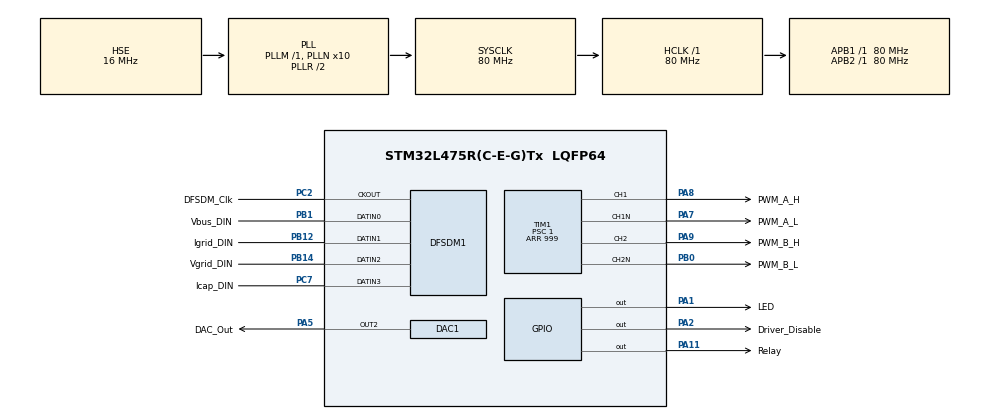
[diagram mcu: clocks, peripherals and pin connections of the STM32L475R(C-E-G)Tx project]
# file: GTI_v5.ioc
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DAC1.DAC_Channel-DAC_OUT2=DAC_CHANNEL_2
DFSDM1.Divider=8
DFSDM1.DmaMode_reg_FIL0=ENABLE
DFSDM1.DmaMode_reg_FIL1=ENABLE
DFSDM1.DmaMode_reg_FIL2=ENABLE
DFSDM1.DmaMode_reg_FIL3=ENABLE
DFSDM1.FilterOrder_CH0=DFSDM_CHANNEL_SINC3_ORDER
DFSDM1.FilterOrder_CH1=DFSDM_CHANNEL_SINC3_ORDER
DFSDM1.FilterOrder_CH2=DFSDM_CHANNEL_SINC3_ORDER
DFSDM1.FilterOrder_CH3=DFSDM_CHANNEL_SINC3_ORDER
DFSDM1.Filter_regChannel_FIL0=DFSDM_CHANNEL_0
DFSDM1.Filter_regChannel_FIL1=DFSDM_CHANNEL_1
DFSDM1.Filter_regChannel_FIL2=DFSDM_CHANNEL_2
DFSDM1.Filter_regChannel_FIL3=DFSDM_CHANNEL_3
DFSDM1.Fosr_FIL0=82
DFSDM1.Fosr_FIL1=82
DFSDM1.Fosr_FIL2=82
DFSDM1.Fosr_FIL3=82
DFSDM1.Iosr_FIL0=1
DFSDM1.Iosr_FIL1=1
DFSDM1.Iosr_FIL2=1
DFSDM1.Iosr_FIL3=1
DFSDM1.Oversampling_CH0=16
DFSDM1.Oversampling_CH1=16
DFSDM1.RightBitShift_CH0=0
DFSDM1.RightBitShift_CH1=0
DFSDM1.RightBitShift_CH2=0
DFSDM1.RightBitShift_CH3=0
DFSDM1.SincOrder_FIL0=DFSDM_FILTER_SINC3_ORDER
DFSDM1.SincOrder_FIL1=DFSDM_FILTER_SINC3_ORDER
DFSDM1.SincOrder_FIL2=DFSDM_FILTER_SINC3_ORDER
DFSDM1.SincOrder_FIL3=DFSDM_FILTER_SINC3_ORDER
Dma.DFSDM1_FLT0.0.Direction=DMA_PERIPH_TO_MEMORY
Dma.DFSDM1_FLT0.0.Instance=DMA1_Channel4
Dma.DFSDM1_FLT0.0.MemDataAlignment=DMA_MDATAALIGN_WORD
Dma.DFSDM1_FLT0.0.MemInc=DMA_MINC_ENABLE
Dma.DFSDM1_FLT0.0.Mode=DMA_CIRCULAR
Dma.DFSDM1_FLT0.0.PeriphDataAlignment=DMA_PDATAALIGN_WORD
Dma.DFSDM1_FLT0.0.PeriphInc=DMA_PINC_DISABLE
Dma.DFSDM1_FLT0.0.Priority=DMA_PRIORITY_LOW
Dma.DFSDM1_FLT1.1.Direction=DMA_PERIPH_TO_MEMORY
Dma.DFSDM1_FLT1.1.Instance=DMA1_Channel5
Dma.DFSDM1_FLT1.1.MemDataAlignment=DMA_MDATAALIGN_WORD
Dma.DFSDM1_FLT1.1.MemInc=DMA_MINC_ENABLE
Dma.DFSDM1_FLT1.1.Mode=DMA_CIRCULAR
Dma.DFSDM1_FLT1.1.PeriphDataAlignment=DMA_PDATAALIGN_WORD
Dma.DFSDM1_FLT1.1.PeriphInc=DMA_PINC_DISABLE
Dma.DFSDM1_FLT1.1.Priority=DMA_PRIORITY_LOW
Dma.DFSDM1_FLT2.2.Direction=DMA_PERIPH_TO_MEMORY
Dma.DFSDM1_FLT2.2.Instance=DMA1_Channel6
Dma.DFSDM1_FLT2.2.MemDataAlignment=DMA_MDATAALIGN_WORD
Dma.DFSDM1_FLT2.2.MemInc=DMA_MINC_ENABLE
Dma.DFSDM1_FLT2.2.Mode=DMA_CIRCULAR
Dma.DFSDM1_FLT2.2.PeriphDataAlignment=DMA_PDATAALIGN_WORD
Dma.DFSDM1_FLT2.2.PeriphInc=DMA_PINC_DISABLE
Dma.DFSDM1_FLT2.2.Priority=DMA_PRIORITY_LOW
Dma.DFSDM1_FLT3.3.Direction=DMA_PERIPH_TO_MEMORY
Dma.DFSDM1_FLT3.3.Instance=DMA1_Channel7
Dma.DFSDM1_FLT3.3.MemDataAlignment=DMA_MDATAALIGN_WORD
Dma.DFSDM1_FLT3.3.MemInc=DMA_MINC_ENABLE
Dma.DFSDM1_FLT3.3.Mode=DMA_CIRCULAR
Dma.DFSDM1_FLT3.3.PeriphDataAlignment=DMA_PDATAALIGN_WORD
Dma.DFSDM1_FLT3.3.PeriphInc=DMA_PINC_DISABLE
Dma.DFSDM1_FLT3.3.Priority=DMA_PRIORITY_LOW
Dma.Request0=DFSDM1_FLT0
Dma.Request1=DFSDM1_FLT1
Dma.Request2=DFSDM1_FLT2
Dma.Request3=DFSDM1_FLT3
Mcu.Family=STM32L4
Mcu.Name=STM32L475R(C-E-G)Tx
Mcu.Package=LQFP64
NVIC.DFSDM1_FLT0_IRQn=true\:0\:0\:true\:false\:true\:true\:true\:true
NVIC.DFSDM1_FLT1_IRQn=true\:0\:0\:true\:false\:true\:true\:true\:true
NVIC.PriorityGroup=NVIC_PRIORITYGROUP_4
NVIC.TIM2_IRQn=true\:15\:0\:true\:false\:true\:true\:true\:true
NVIC.TIM3_IRQn=true\:1\:0\:true\:false\:true\:true\:true\:true
NVIC.TIM4_IRQn=true\:10\:0\:true\:false\:true\:true\:true\:true
PA1.GPIO_Label=LED
PA1.GPIO_Speed=GPIO_SPEED_FREQ_MEDIUM
PA1.Signal=GPIO_Output
PA11.GPIO_Label=Relay
PA11.GPIO_Speed=GPIO_SPEED_FREQ_MEDIUM
PA11.Signal=GPIO_Output
PA2.GPIO_Label=Driver_Disable
PA2.GPIO_Speed=GPIO_SPEED_FREQ_MEDIUM
PA2.PinState=GPIO_PIN_SET
PA2.Signal=GPIO_Output
PA5.GPIO_Label=DAC_Out
PA5.Signal=COMP_DAC12_group
PA7.GPIO_Label=PWM_A_L
PA7.GPIO_Speed=GPIO_SPEED_FREQ_VERY_HIGH
PA7.Mode=PWM Generation1 CH1 CH1N
PA7.Signal=TIM1_CH1N
PA8.GPIO_Label=PWM_A_H
PA8.GPIO_Speed=GPIO_SPEED_FREQ_VERY_HIGH
PA8.Signal=S_TIM1_CH1
PA9.GPIO_Label=PWM_B_H
PA9.GPIO_Speed=GPIO_SPEED_FREQ_VERY_HIGH
PA9.Signal=S_TIM1_CH2
PB0.GPIO_Label=PWM_B_L
PB0.GPIO_Speed=GPIO_SPEED_FREQ_VERY_HIGH
PB0.Mode=PWM Generation2 CH2 CH2N
PB0.Signal=TIM1_CH2N
PB1.GPIO_Label=Vbus_DIN
PB1.GPIO_Speed=GPIO_SPEED_FREQ_VERY_HIGH
PB1.Signal=S_DATAIN0DFSDM1
PB12.GPIO_Label=Igrid_DIN
PB12.GPIO_Speed=GPIO_SPEED_FREQ_VERY_HIGH
PB12.Signal=S_DATAIN1DFSDM1
PB14.GPIO_Label=Vgrid_DIN
PB14.GPIO_Speed=GPIO_SPEED_FREQ_VERY_HIGH
PB14.Signal=S_DATAIN2DFSDM1
PC2.GPIO_Label=DFSDM_Clk
PC2.GPIO_Speed=GPIO_SPEED_FREQ_VERY_HIGH
PC2.Signal=S_CKOUTDFSDM1
PC7.GPIO_Label=Icap_DIN
PC7.GPIO_Speed=GPIO_SPEED_FREQ_VERY_HIGH
PC7.Signal=S_DATAIN3DFSDM1
PH0-OSC_IN\ (PH0).Mode=HSE-External-Oscillator
PH0-OSC_IN\ (PH0).Signal=RCC_OSC_IN
PH1-OSC_OUT\ (PH1).Mode=HSE-External-Oscillator
PH1-OSC_OUT\ (PH1).Signal=RCC_OSC_OUT
ProjectManager.HeapSize=0x200
ProjectManager.StackSize=0x400
ProjectManager.TargetToolchain=STM32CubeIDE
RCC.ADCFreq_Value=64000000
RCC.AHBFreq_Value=80000000
RCC.APB1Freq_Value=80000000
RCC.APB1TimFreq_Value=80000000
RCC.APB2Freq_Value=80000000
RCC.APB2TimFreq_Value=80000000
RCC.CortexFreq_Value=80000000
RCC.HCLKFreq_Value=80000000
RCC.HSE_VALUE=16000000
RCC.HSI_VALUE=16000000
RCC.LSE_VALUE=32768
RCC.MSI_VALUE=4000000
RCC.PLLN=10
RCC.PLLSourceVirtual=RCC_PLLSOURCE_HSE
RCC.SYSCLKFreq_VALUE=80000000
RCC.SYSCLKSource=RCC_SYSCLKSOURCE_PLLCLK
RCC.USBFreq_Value=64000000
RCC.VCOOutputFreq_Value=160000000
SH.COMP_DAC12_group.0=DAC1_OUT2,DAC_OUT2
SH.S_CKOUTDFSDM1.0=DFSDM1_CKOUT,PDM_SPI_input_from_ch1_and_internal_clock
SH.S_CKOUTDFSDM1.1=DFSDM1_CKOUT,CKOUT
SH.S_CKOUTDFSDM1.2=DFSDM1_CKOUT,PDM_SPI_input_from_ch0_and_internal_clock
SH.S_CKOUTDFSDM1.3=DFSDM1_CKOUT,PDM_SPI_input_from_ch2_and_internal_clock
SH.S_CKOUTDFSDM1.4=DFSDM1_CKOUT,PDM_SPI_input_from_ch3_and_internal_clock
SH.S_DATAIN0DFSDM1.0=DFSDM1_DATIN0,PDM_SPI_input_from_ch0_and_internal_clock
SH.S_DATAIN1DFSDM1.0=DFSDM1_DATIN1,PDM_SPI_input_from_ch1_and_internal_clock
SH.S_DATAIN2DFSDM1.0=DFSDM1_DATIN2,PDM_SPI_input_from_ch2_and_internal_clock
SH.S_DATAIN3DFSDM1.0=DFSDM1_DATIN3,PDM_SPI_input_from_ch3_and_internal_clock
SH.S_TIM1_CH1.0=TIM1_CH1,PWM Generation1 CH1 CH1N
SH.S_TIM1_CH2.0=TIM1_CH2,PWM Generation2 CH2 CH2N
TIM1.Channel-PWM\ Generation1\ CH1\ CH1N=TIM_CHANNEL_1
TIM1.Channel-PWM\ Generation2\ CH2\ CH2N=TIM_CHANNEL_2
TIM1.DeadTime=1
TIM1.Period=999
TIM1.Prescaler=1
TIM1.Pulse-PWM\ Generation2\ CH2\ CH2N=0
TIM2.Period=1249
TIM2.Prescaler=79
TIM3.Period=5999
TIM3.Prescaler=0
TIM4.AutoReloadPreload=TIM_AUTORELOAD_PRELOAD_ENABLE
TIM4.Period=999
TIM4.Prescaler=24
TIM4.TIM_MasterOutputTrigger=TIM_TRGO_UPDATE
TIM4.TIM_MasterSlaveMode=TIM_MASTERSLAVEMODE_ENABLE
TIM5.Period=63
TIM5.TIM_MasterOutputTrigger=TIM_TRGO_RESET
TIM5.TIM_MasterSlaveMode=TIM_MASTERSLAVEMODE_DISABLE
VP_TIM1_VS_ClockSourceINT.Mode=Internal
VP_TIM2_VS_ClockSourceINT.Mode=Internal
VP_TIM3_VS_ClockSourceINT.Mode=Internal
VP_TIM4_VS_ClockSourceINT.Mode=Internal
VP_TIM5_VS_ClockSourceITR.Mode=TriggerSource_ITR2
VP_TIM5_VS_ControllerModeClock.Mode=Clock Mode
board=custom

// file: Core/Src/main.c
/* USER CODE BEGIN Header */
/**
  ******************************************************************************
  * @file           : main.c
  * @brief          : Main program body
  ***************************************************************************************
 * MIT License
 * Copyright (c) [2023] [James Fotherby]
 * Copyright (c) [2024] [Joule Munic]
 *
 * Permission is hereby granted, free of charge, to any person obtaining a copy
 * of this software and associated documentation files (the "Software"), to deal
 * in the Software without restriction, including without limitation the rights
 * to use, copy, modify, merge, publish, distribute, sublicense, and/or sell
 * copies of the Software, and to permit persons to whom the Software is
 * furnished to do so, subject to the following conditions:
 *
 * The above copyright notice and this permission notice shall be included in all
 * copies or substantial portions of the Software.
 *
 * THE SOFTWARE IS PROVIDED "AS IS", WITHOUT WARRANTY OF ANY KIND, EXPRESS OR
 * IMPLIED, INCLUDING BUT NOT LIMITED TO THE WARRANTIES OF MERCHANTABILITY,
 * FITNESS FOR A PARTICULAR PURPOSE AND NONINFRINGEMENT. IN NO EVENT SHALL THE
 * AUTHORS OR COPYRIGHT HOLDERS BE LIABLE FOR ANY CLAIM, DAMAGES OR OTHER
 * LIABILITY, WHETHER IN AN ACTION OF CONTRACT, TORT OR OTHERWISE, ARISING FROM,
 * OUT OF OR IN CONNECTION WITH THE SOFTWARE OR THE USE OR OTHER DEALINGS IN THE
 * SOFTWARE.
 ***************************************************************************************/
/* USER CODE END Header */
#include "main.h"
#include "dac.h"
#include "dfsdm.h"
#include "dma.h"
#include "tim.h"
#include "gpio.h"

/* USER CODE BEGIN Includes */
#include "PID.h"
#include "math.h"
#include "PR.h"
/* USER CODE END Includes */

/* USER CODE BEGIN PV */
const float Sin_LookupF[65] =
{
  0.000000,0.098017,0.195090,0.290285,0.382683,0.471397,0.555570,0.634393,
  0.707107,0.773010,0.831470,0.881921,0.923880,0.956940,0.980785,0.995185,
  1.000000,0.995185,0.980785,0.956940,0.923880,0.881921,0.831470,0.773010,
  0.707107,0.634393,0.555570,0.471397,0.382683,0.290285,0.195090,0.098017,
  0.000000,-0.098017,-0.195090,-0.290285,-0.382683,-0.471397,-0.555570,-0.634393,
  -0.707107,-0.773010,-0.831470,-0.881921,-0.923880,-0.956940,-0.980785,-0.995185,
  -1.000000,-0.995185,-0.980785,-0.956940,-0.923880,-0.881921,-0.831470,-0.773010,
  -0.707107,-0.634393,-0.555570,-0.471397,-0.382683,-0.290285,-0.195090,-0.098017,
  0.000000
};

// These values are scaled between 0-256 to improve the integer maths in our PLL function.
const float Cos_LookupF[65] =
{
    256, 254.76729, 251.0810318, 244.9767259, 236.5131603, 225.7718437, 212.8562207, 197.8906761,
    181.019336, 162.4046807, 142.2259797, 120.6775646, 97.96695869, 74.31287738, 49.94312244, 25.09238792,
    0, -25.09238792, -49.94312244, -74.31287738, -97.96695869, -120.6775646, -142.2259797, -162.4046807,
    -181.019336, -197.8906761, -212.8562207, -225.7718437, -236.5131603, -244.9767259, -251.0810318, -254.76729,
    -256, -254.76729, -251.0810318, -244.9767259, -236.5131603, -225.7718437, -212.8562207, -197.8906761,
    -181.019336, -162.4046807, -142.2259797, -120.6775646, -97.96695869, -74.31287738, -49.94312244, -25.09238792,
    0, 25.09238792, 49.94312244, 74.31287738, 97.96695869, 120.6775646, 142.2259797, 162.4046807,
    181.019336, 197.8906761, 212.8562207, 225.7718437, 236.5131603, 244.9767259, 251.0810318, 254.76729,
    256
};

// Global Structures

// PID Controllers
PIDControl          PLL_PID;
PIDControl          I_OUT_PID;
PIDControl          P_OUT_PID;

// Resonant controllers
PR_t                PR_50;
PR_t                PR_150;
PR_t                PR_250;
PR_t                PR_350;
PR_t                PR_450;
PR_t                PR_550;

// DFSDM Peripherals
DFSDM_Filter_AwdParamTypeDef  awdParamFilter0;
DFSDM_Filter_AwdParamTypeDef  awdParamFilter1;

// -----------------------------------------------------------------
// Necessary Global variables (since R/W occurs within ISRs):

// These variables are updated automatically by the DFSDM and DMA peripherals
int32_t             I_grid_DMA;
int32_t             V_grid_DMA;
int32_t             I_cap_DMA;
int32_t             V_bus_DMA;

// Half-bridge Enabled?
volatile uint8_t    HB_Enabled_Flag = false;

// Keeps track of whether the grid is safe to connect to
volatile int16_t    Grid_Good_Bad_Cnt = GRID_UNACCEPTABLE;

/* USER CODE END PV */

void SystemClock_Config(void);
/* USER CODE BEGIN PFP */

void HB_Disable(void);
void HB_Enable(void);
void Grid_Checks(void);
void Controller(void);
void PLL(void);
void HAL_DFSDM_FilterAwdCallback(DFSDM_Filter_HandleTypeDef *hdfsdm_filter, uint32_t Channel, uint32_t Threshold);
void HAL_DFSDM_FilterRegConvCpltCallback(DFSDM_Filter_HandleTypeDef *hdfsdm_filter);
float Integral(int32_t datum);
int32_t Integrate_Mains_MS(int32_t grid_voltage_sample);

/* USER CODE END PFP */

int main(void)
{

  /* MCU Configuration--------------------------------------------------------*/

  /* Reset of all peripherals, Initialises the Flash interface and the Systick. */
  HAL_Init();

  /* Configure the system clock */
  SystemClock_Config();

  /* Initialize all configured peripherals */
  MX_GPIO_Init();
  MX_DMA_Init();
  MX_TIM1_Init();
  MX_TIM3_Init();
  MX_DFSDM1_Init();
  MX_TIM2_Init();
  MX_TIM4_Init();
  MX_DAC1_Init();
  MX_TIM5_Init();
  /* USER CODE BEGIN 2 */

  // ##################################################
  // ------- Initializations --------------------------
  // ##################################################

  // Initialise DAC for Debugging, ensure the relays are closed
  // and ensure our H-Bridge driver is disabled
  HAL_GPIO_WritePin(GPIOA, Driver_Disable_Pin, GPIO_PIN_SET);
  HAL_GPIO_WritePin(GPIOA, Relay_Pin, GPIO_PIN_SET);
  HAL_DAC_Start(&hdac1, DAC_CHANNEL_2);

  // Initialise the PID controllers
  PIDInit(&PLL_PID, PLL_Kp, PLL_Ki, PLL_Kd, PLL_PERIOD, -PLL_LIMIT, PLL_LIMIT, AUTOMATIC, DIRECT, P_ON_E);
  PIDInit(&I_OUT_PID, I_OUT_Kp, I_OUT_Ki, I_OUT_Kd, I_OUT_PERIOD, -I_OUT_Limit, I_OUT_Limit, AUTOMATIC, DIRECT, P_ON_E);
  PIDInit(&P_OUT_PID, P_OUT_Kp, P_OUT_Ki, P_OUT_Kd, P_OUT_PERIOD, P_OUT_MIN, P_OUT_MAX, AUTOMATIC, REVERSE, P_ON_E);

  // Initialise our timers
  HAL_TIM_Base_Start_IT(&htim2); // Periodically run the grid checks
  HAL_TIM_Base_Start_IT(&htim3); // Periodically run the current controller
  HAL_TIM_Base_Start_IT(&htim4); // Periodically run the PLL routine
  HAL_TIM_Base_Start_IT(&htim5); // Phase counter 0-63 per 50Hz period

  // Start the DFSDMs
  HAL_DFSDM_FilterRegularStart_DMA(&hdfsdm1_filter0, &V_bus_DMA, 1);
  HAL_DFSDM_FilterRegularStart_DMA(&hdfsdm1_filter1, &I_grid_DMA, 1);
  HAL_DFSDM_FilterRegularStart_DMA(&hdfsdm1_filter2, &V_grid_DMA, 1);
  HAL_DFSDM_FilterRegularStart_DMA(&hdfsdm1_filter3, &I_cap_DMA, 1);

  // Enable the interrupts by the analogue watchdog of the DFSDM peripheral
  // (These are vitally important)
  awdParamFilter0.DataSource      = DFSDM_FILTER_AWD_CHANNEL_DATA;
  awdParamFilter0.Channel         = DFSDM_CHANNEL_0;
  awdParamFilter0.HighBreakSignal = DFSDM_NO_BREAK_SIGNAL;
  awdParamFilter0.HighThreshold   = 3700 << 8;     // 420 = 50V, 1540 = 185V, 3700 = 445V
  awdParamFilter0.LowBreakSignal  = DFSDM_NO_BREAK_SIGNAL;
  awdParamFilter0.LowThreshold    = -50 << 8;
  HAL_DFSDM_FilterAwdStart_IT(&hdfsdm1_filter0, &awdParamFilter0);

  awdParamFilter1.DataSource      = DFSDM_FILTER_AWD_CHANNEL_DATA;
  awdParamFilter1.Channel         = DFSDM_CHANNEL_1;
  awdParamFilter1.HighBreakSignal = DFSDM_NO_BREAK_SIGNAL;
  awdParamFilter1.HighThreshold   = 2500 << 8;     // It's about 500 per A
  awdParamFilter1.LowBreakSignal  = DFSDM_NO_BREAK_SIGNAL;
  awdParamFilter1.LowThreshold    = -2500 << 8;
  HAL_DFSDM_FilterAwdStart_IT(&hdfsdm1_filter1, &awdParamFilter1);

  // Enable the interrupts by the analogue watchdog
  HAL_NVIC_EnableIRQ(DFSDM1_FLT0_IRQn);
  HAL_NVIC_EnableIRQ(DFSDM1_FLT1_IRQn);

  /* USER CODE END 2 */

  /* Infinite loop */
  /* USER CODE BEGIN WHILE */

  // #######################################################################################
  // ----------------------------------Main loop--------------------------------------------
  // #######################################################################################
  while (1)
  {
    /* USER CODE END WHILE */

    /* USER CODE BEGIN 3 */

    // All code is handled by ISRs.
    // Simply output to DAC for debugging
    float I_grid = ((float)I_grid_DMA) * I_GRID_SENSOR_K;

    // This results in 3 A/V on our scope allowing for +/- 5A.
    uint32_t DAC_Data = 2048 + (int32_t)(I_grid*421.0);

    HAL_DAC_SetValue(&hdac1, DAC_CHANNEL_2, DAC_ALIGN_12B_R, DAC_Data);
  }
  /* USER CODE END 3 */
}

void SystemClock_Config(void)
{
  RCC_OscInitTypeDef RCC_OscInitStruct = {0};
  RCC_ClkInitTypeDef RCC_ClkInitStruct = {0};

  // Configure the main internal regulator output voltage

  if (HAL_PWREx_ControlVoltageScaling(PWR_REGULATOR_VOLTAGE_SCALE1) != HAL_OK)
  {
    Error_Handler();
  }

  // Initializes the RCC Oscillators according to the specified parameters
  // in the RCC_OscInitTypeDef structure.

  RCC_OscInitStruct.OscillatorType  = RCC_OSCILLATORTYPE_HSE;
  RCC_OscInitStruct.HSEState        = RCC_HSE_ON;
  RCC_OscInitStruct.PLL.PLLState    = RCC_PLL_ON;
  RCC_OscInitStruct.PLL.PLLSource   = RCC_PLLSOURCE_HSE;
  RCC_OscInitStruct.PLL.PLLM        = 1;
  RCC_OscInitStruct.PLL.PLLN        = 10;
  RCC_OscInitStruct.PLL.PLLP        = RCC_PLLP_DIV7;
  RCC_OscInitStruct.PLL.PLLQ        = RCC_PLLQ_DIV2;
  RCC_OscInitStruct.PLL.PLLR        = RCC_PLLR_DIV2;

  if (HAL_RCC_OscConfig(&RCC_OscInitStruct) != HAL_OK)
  {
    Error_Handler();
  }

  // Initializes the CPU, AHB and APB buses clocks

  RCC_ClkInitStruct.ClockType       = RCC_CLOCKTYPE_HCLK|RCC_CLOCKTYPE_SYSCLK
                                      |RCC_CLOCKTYPE_PCLK1|RCC_CLOCKTYPE_PCLK2;

  RCC_ClkInitStruct.SYSCLKSource    = RCC_SYSCLKSOURCE_PLLCLK;
  RCC_ClkInitStruct.AHBCLKDivider   = RCC_SYSCLK_DIV1;
  RCC_ClkInitStruct.APB1CLKDivider  = RCC_HCLK_DIV1;
  RCC_ClkInitStruct.APB2CLKDivider  = RCC_HCLK_DIV1;

  if (HAL_RCC_ClockConfig(&RCC_ClkInitStruct, FLASH_LATENCY_4) != HAL_OK)
  {
    Error_Handler();
  }
}

/* USER CODE BEGIN 4 */

// #########################################################################################
// ---------------------------------Subroutines---------------------------------------------
// #########################################################################################

void HB_Disable() {

  // Disable the H-Bridge
  HAL_GPIO_WritePin(GPIOA, Driver_Disable_Pin, GPIO_PIN_SET);

  // Disable further interrupts by the analogue watchdog
  HAL_DFSDM_FilterAwdStop_IT(&hdfsdm1_filter0);
  HAL_DFSDM_FilterAwdStop_IT(&hdfsdm1_filter1);

  // Stop the PWM outputs
  HAL_TIM_PWM_Stop(&htim1,    TIM_CHANNEL_1);
  HAL_TIMEx_PWMN_Stop(&htim1, TIM_CHANNEL_1);
  HAL_TIM_PWM_Stop(&htim1,    TIM_CHANNEL_2);
  HAL_TIMEx_PWMN_Stop(&htim1, TIM_CHANNEL_2);

  // Turn off the "H-Brige enabled LED", reset our grid check recovery period etc
  HAL_GPIO_WritePin(GPIOA, LED_Pin, GPIO_PIN_RESET);
  Grid_Good_Bad_Cnt = GRID_UNACCEPTABLE;
  HB_Enabled_Flag = false;

}

void HB_Enable() {

  // Ensure we never proceed without ensuring our over current
  // and voltage protection is enabled
  if((hdfsdm1_filter0.Instance->FLTCR2 & DFSDM_FLTCR2_AWDIE) == 0) {

    Grid_Good_Bad_Cnt = GRID_UNACCEPTABLE;
    HB_Enabled_Flag   = false;

    return;
  }

  if((hdfsdm1_filter1.Instance->FLTCR2 & DFSDM_FLTCR2_AWDIE) == 0) {

    Grid_Good_Bad_Cnt = GRID_UNACCEPTABLE;
    HB_Enabled_Flag   = false;

    return;
  }

  // Start our PWM driver which uses Timer1 to power our H-bridge.
  // Both channels start with Duty = 0
  htim1.Instance->CCR1 = 0;
  htim1.Instance->CCR2 = 0;

  HAL_TIM_PWM_Start(&htim1,     TIM_CHANNEL_1);
  HAL_TIMEx_PWMN_Start(&htim1,  TIM_CHANNEL_1);
  HAL_TIM_PWM_Start(&htim1,     TIM_CHANNEL_2);
  HAL_TIMEx_PWMN_Start(&htim1,  TIM_CHANNEL_2);

  // Enable the H-Bridge
  HAL_GPIO_WritePin(GPIOA, Driver_Disable_Pin, GPIO_PIN_RESET);
  HB_Enabled_Flag = true;

  HAL_GPIO_WritePin(GPIOA, LED_Pin, GPIO_PIN_SET);
}

float Integral(int32_t datum)  {

  // Keep a running summation of the last INTEGRAL_SIZE values
  // passed into this function.
  static int32_t    Buffer[INTEGRAL_SIZE];
  static int16_t    Index = 0;
  static int32_t    Sum = 0;

  Sum   += datum;

  Buffer[Index++] = datum;

  if(Index == INTEGRAL_SIZE) {
    Index = 0;
  }

  Sum -= Buffer[Index];
  return((float)Sum);
}

int32_t Integrate_Mains_MS(int32_t grid_voltage_sample)  {

  // Maintain an Mean squared measurement of the grid voltage.
  // Runs at 800Hz which is 16 samples per period.

  static int32_t     Buffer[RMS_INTEGRAL_SIZE];
  static int8_t      Index = 0;
  static int32_t     Sum = 0;

  int32_t Sample_sqrd = grid_voltage_sample * grid_voltage_sample;

  Sum += Sample_sqrd;

  Buffer[Index++] = Sample_sqrd;

  if(Index == RMS_INTEGRAL_SIZE) {
    Index = 0;
  }

  Sum -= Buffer[Index];

  int32_t Mean_Squared = Sum >> 6;

  // Divide Sum by 64 (RMS_INTEGRAL_SIZE)
  return(Mean_Squared);
}

void Grid_Checks()  {

  float   V_grid      = ((float)V_grid_DMA) * V_GRID_SENSOR_K;
  float   V_bus       = ((float)V_bus_DMA) * V_BUS_SENSOR_K;

  // Get the frequency difference between the grid and a 50Hz reference
  float   Freq_Offset = PLL_PID.output * F_CONVERSION_K;

  // Update our mains RMS measurement
  int32_t Mains_MS    = Integrate_Mains_MS((int32_t)V_grid);

  // These checks have to be out of range for an amount of time (<100ms)

  if(Mains_MS > RMS_UPPER_LIMIT || Mains_MS < RMS_LOWER_LIMIT) {
    // If grid Mean-Squared voltage out of tolerance
    Grid_Good_Bad_Cnt -= GRID_BAD_FAIL_RATE;
  }

  if(Freq_Offset > FREQ_DEV_LIMIT || Freq_Offset < -FREQ_DEV_LIMIT) {
    // If our mains frequency is out of tolerance
    Grid_Good_Bad_Cnt -= GRID_BAD_FAIL_RATE;
  }

  if(V_bus > V_BUS_MAXIMUM || V_bus < V_BUS_MINIMUM) {
    // If our DC Bus voltage is out of tolerance
    Grid_Good_Bad_Cnt -= GRID_BAD_FAIL_RATE;
  }

  // If our grid checks fail we disconnect
  if(Grid_Good_Bad_Cnt < GRID_OK)  {
    // If our metrics have been wrong for too long -> stop output

    if(HB_Enabled_Flag == true) {
      // This puts the H-bridge into a high impedance state
      HB_Disable();
    }
  }

  // If grid checks are looking good and we're not yet
  // grid tied then request to join
  if(HB_Enabled_Flag == false) {

    if(Grid_Good_Bad_Cnt == GRID_OK) {
      // When grid is looking OK start our over V & I detection
      // Enable the interrupts by the analogue watchdog
      HAL_DFSDM_FilterAwdStart_IT(&hdfsdm1_filter1, &awdParamFilter1);
      HAL_DFSDM_FilterAwdStart_IT(&hdfsdm1_filter0, &awdParamFilter0);
    }

    if(Grid_Good_Bad_Cnt == GRID_ACCEPTABLE && ENABLE_JOINING_GRID == true) {
      // If the grid remains good then request a join
      HB_Enabled_Flag = REQUEST_JOIN_GRID;
    }
  }

  //-------------------------------------------------------------------------------
  Grid_Good_Bad_Cnt++;

  // If all checks are nominal decay our error metric
  Grid_Good_Bad_Cnt   = CONSTRAIN(Grid_Good_Bad_Cnt, GRID_UNACCEPTABLE, GRID_ACCEPTABLE);

  // Here we adjust our output current to keep our bus voltage
  // at 370V using a PI controller
  P_OUT_PID.setpoint  = V_BUS_NOMINAL;
  P_OUT_PID.input     = V_bus;
  PIDCompute(&P_OUT_PID);
}

void Controller()  {

  // This enables our H-Bridge at the up-going zero crossing point if
  // we are requesting to join the grid.
  if(HB_Enabled_Flag == REQUEST_JOIN_GRID)  {

    if(TIM5->CNT == 0)  {

      // TIM5-CNT is our PLL phase counter running from 0->63
      I_OUT_PID.iTerm   = 0;
      P_OUT_PID.iTerm   = 0;
      P_OUT_PID.output  = P_OUT_MIN;

      pr_init(&PR_50,  0.0f, 1000.0f, 10.0f, I_OUT_PERIOD);
      pr_init(&PR_150, 0.0f, 1500.0f, 10.0f, I_OUT_PERIOD);
      pr_init(&PR_250, 0.0f, 1000.0f, 10.0f, I_OUT_PERIOD);
      pr_init(&PR_350, 0.0f, 1000.0f, 10.0f, I_OUT_PERIOD);
      pr_init(&PR_450, 0.0f, 1000.0f, 10.0f, I_OUT_PERIOD);
      pr_init(&PR_550, 0.0f, 1000.0f, 10.0f, I_OUT_PERIOD);
      HB_Enable();
    }
  }

  // Interpolate our LO steps to get a more accurate LO sample:

  // Take recordings so they are less likely to change during the calculations
  uint32_t  Timer4_CNT    = TIM4->CNT;
  uint8_t   Lookup_Index  = TIM5->CNT;

  // This is why our lookup table has 65 values.
  float diff = Sin_LookupF[Lookup_Index + 1] - Sin_LookupF[Lookup_Index];

  // Timer4 counts from 0-999 (multiplication faster than division)
  float Timer4_CNT_Ratio = 0.001f * (float)Timer4_CNT;

  float LO_Sample = Sin_LookupF[Lookup_Index] + (diff * Timer4_CNT_Ratio);

  // -------------- Update our current metrics:
  float I_grid = ((float)I_grid_DMA) * I_GRID_SENSOR_K;

  // -------------- Iterate our PI Controller:
  I_OUT_PID.setpoint  = LO_Sample * P_OUT_PID.output;
  I_OUT_PID.input     = I_grid;
  PIDCompute(&I_OUT_PID);

  // -------------- Iterate our Resonant Controllers:
  float Ui_50  = pr_calc(&PR_50, I_OUT_PID.setpoint, I_grid, 2 * 3.1415926 * 50.0);
  float Ui_150 = pr_calc(&PR_150, I_OUT_PID.setpoint, I_grid, 2 * 3.1415926 * 150.0);
  float Ui_250 = pr_calc(&PR_250, I_OUT_PID.setpoint, I_grid, 2 * 3.1415926 * 250.0);
  float Ui_350 = pr_calc(&PR_350, I_OUT_PID.setpoint, I_grid, 2 * 3.1415926 * 350.0);
  float Ui_450 = pr_calc(&PR_450, I_OUT_PID.setpoint, I_grid, 2 * 3.1415926 * 450.0);
  float Ui_550 = pr_calc(&PR_550, I_OUT_PID.setpoint, I_grid, 2 * 3.1415926 * 550.0);

  // -------------- Iterate our Feed-forward Controller:
  float Feedforward = LO_Sample * 358.0;

  // -------------- Add together the various control outputs:
  float Demanded_Output_Voltage = Feedforward + I_OUT_PID.output + Ui_50 + Ui_150 + Ui_250 + Ui_350 + Ui_450 + Ui_550;

  // ^^ In voltgage-source mode, we would simply force
  // Demanded_Output_Voltage to follow a lookup table

  // -------------- Update our voltage metric:
  float V_bus = ((float)V_bus_DMA) * V_BUS_SENSOR_K;
  int16_t Duty_Cycle = (int16_t)(Demanded_Output_Voltage * DUTY_MAX / V_bus);

  // Constrain and output the new duty cycle
  Duty_Cycle = CONSTRAIN(Duty_Cycle, -DUTY_LIMIT, DUTY_LIMIT);

  if(Duty_Cycle >= 0) {
    htim1.Instance->CCR1 = Duty_Cycle;
    htim1.Instance->CCR2 = 0;
  }

  else {
    htim1.Instance->CCR1 = 0;
    htim1.Instance->CCR2 = -Duty_Cycle;
  }
}

void PLL()  {

  float V_grid            = ((float)V_grid_DMA) * V_GRID_SENSOR_K;

  // Multiply the LO Cosine value with our current phase voltage sample
  int32_t Signal_Multiple = (int32_t)(Cos_LookupF[TIM5->CNT] * V_grid);

  // Integrate this Multiple over the last 1 period
  PLL_PID.input = Integral(Signal_Multiple);

  // Plug result in a PI controller to maintain 0 phase shift
  PIDCompute(&PLL_PID);

  // Adjust LO frequency (step period) to synchronise to grid
  // (Important to have ARR_Preload enabled)
  TIM4->ARR = SINE_STEP_PERIOD + (int32_t)PLL_PID.output;
}

// ##################################################
// --- Interrupt Service Routines--------------------
// ##################################################

void HAL_DFSDM_FilterAwdCallback(DFSDM_Filter_HandleTypeDef *hdfsdm_filter, uint32_t Channel, uint32_t Threshold)  {
  HB_Disable();
}

void HAL_TIM_PeriodElapsedCallback(TIM_HandleTypeDef *htim) {

  if (htim == &htim3) {
    // ## Runs at 13.3kHz to iterate the controller ##
    Controller();
  }

  if (htim == &htim4) {
    // ## Runs 3.2kHz and iterates the PLL ##
    PLL();
  }

  if (htim == &htim2) {
    // ## Runs 800Hz to perform our low priority safety checks ##
    Grid_Checks();
  }
}

/* USER CODE END 4 */

void Error_Handler(void)
{
  /* USER CODE BEGIN Error_Handler_Debug */
  /* User can add his own implementation to report the HAL error return state */
  HB_Disable();
  __disable_irq();
  while (1)
  {
  }
  /* USER CODE END Error_Handler_Debug */
}
